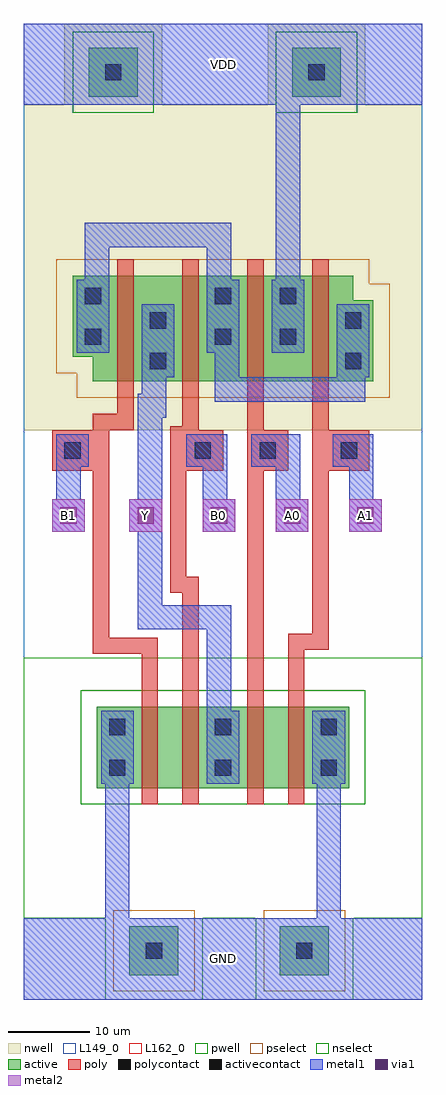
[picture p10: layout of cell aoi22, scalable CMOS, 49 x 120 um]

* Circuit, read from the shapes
.subckt aoi22 A0 A1 B0 B1 GND VDD Y
M1 n1 B1 GND GND nfet w=10u l=2u
M2 Y B0 n1 GND nfet w=10u l=2u
M3 n2 A0 Y GND nfet w=10u l=2u
M4 GND A1 n2 GND nfet w=10u l=2u
M5 Y B1 n3 VDD pfet w=13u l=2u
M6 n3 B0 Y VDD pfet w=13u l=2u
M7 VDD A0 n3 VDD pfet w=13u l=2u
M8 n3 A1 VDD VDD pfet w=13u l=2u
.ends

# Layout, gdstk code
import gdstk
lib = gdstk.Library(unit=1e-6, precision=1e-09)
def R(c, l, rs):  # rectangles x0, y0, x1, y1
    for r in rs: c.add(gdstk.rectangle(r[:2], r[2:], *l))
def A(c, l, x, y, w, h, nx, ny, dx, dy):  # array of equal rectangles
    R(c, l, [(x+i*dx, y+j*dy, x+i*dx+w, y+j*dy+h) for i in range(nx) for j in range(ny)])
def P(c, l, *ps):  # polygons
    for p in ps: c.add(gdstk.Polygon(p, *l))
pwell = (41, 0)
nwell = (42, 0)
active = (43, 0)
pselect = (44, 0)
nselect = (45, 0)
poly = (46, 0)
polycontact = (47, 0)
activecontact = (48, 0)
metal1 = (49, 0)
via1 = (50, 0)
metal2 = (51, 0)
L149_0 = (149, 0)
L162_0 = (162, 0)

nwell_contact = lib.new_cell('nwell_contact')
R(nwell_contact, nwell, [(-6,-5,6,6)])
R(nwell_contact, active, [(-3,-3,3,3)])
R(nwell_contact, nselect, [(-5,-5,5,5)])
R(nwell_contact, activecontact, [(-1,-1,1,1)])

pwell_contact = lib.new_cell('pwell_contact')
R(pwell_contact, pwell, [(-6,-6,6,5)])
R(pwell_contact, active, [(-3,-3,3,3)])
R(pwell_contact, pselect, [(-5,-5,5,5)])
R(pwell_contact, activecontact, [(-1,-1,1,1)])

via = lib.new_cell('via')
R(via, metal1, [(-2,-2,2,2)])
R(via, via1, [(-1,-1,1,1)])
R(via, metal2, [(-2,-2,2,2)])

aoi22 = lib.new_cell('aoi22')
R(aoi22, pwell, [(0,10,49,20), (0,10,49,42), (3,20,46,42)])
R(aoi22, nwell, [(0,70,49,110), (0,95,49,110)])
P(aoi22, nwell, [(49,70),(49,92),(46.5,92),(46.5,95),(0,95),(0,73),(2.5,73),(2.5,70)])
R(aoi22, active, [(9,26,40,36)])
P(aoi22, active, [(43,76),(43,86),(40.5,86),(40.5,89),(6,89),(6,79),(8.5,79),(8.5,76)])
P(aoi22, pselect, [(45,74),(45,88),(42.5,88),(42.5,91),(4,91),(4,77),(6.5,77),(6.5,74)])
R(aoi22, nselect, [(7,24,42,38)])
A(aoi22, poly, 11.5, 74, 2, 2, 4, 2, 8, 15)
A(aoi22, poly, 11.5, 76, 2, 13, 4, 1, 8, 0)
R(aoi22, poly, [(14.5,24,16.5,26), (19.5,24,21.5,26), (27.5,24,29.5,26), (32.5,24,34.5,26), (14.5,26,16.5,36), (19.5,26,21.5,36), (27.5,26,29.5,36), (32.5,26,34.5,36), (14.5,36,16.5,38), (19.5,36,21.5,38), (27.5,36,29.5,38), (32.5,36,34.5,38), (3.5,65,8.5,70), (19.5,65,24.5,70), (27.5,65,32.5,70), (37.5,65,42.5,70)])
R(aoi22, polycontact, [(5,66.5,7,68.5), (21,66.5,23,68.5), (29,66.5,31,68.5), (39,66.5,41,68.5)])
A(aoi22, activecontact, 10.5, 27.5, 2, 2, 3, 2, 13, 5)
R(aoi22, activecontact, [(15.5,77.5,17.5,79.5), (39.5,77.5,41.5,79.5), (7.5,80.5,9.5,82.5), (23.5,80.5,25.5,82.5), (31.5,80.5,33.5,82.5), (15.5,82.5,17.5,84.5), (39.5,82.5,41.5,84.5), (7.5,85.5,9.5,87.5), (23.5,85.5,25.5,87.5), (31.5,85.5,33.5,87.5)])
A(aoi22, metal1, 9.5, 26.5, 4, 9, 3, 1, 13, 0)
R(aoi22, metal1, [(0,0,49,10), (0,0,49,10), (4,65.5,8,69.5), (20,65.5,24,69.5), (28,65.5,32,69.5), (38,65.5,42,69.5), (14.5,76.5,18.5,85.5), (38.5,76.5,42.5,85.5), (6.5,79.5,10.5,88.5), (22.5,79.5,26.5,88.5), (30.5,79.5,34.5,88.5), (0,110,49,120), (0,110,49,120)])
A(aoi22, metal2, 13, 57.5, 4, 4, 4, 1, 9, 0)
R(aoi22, metal2, [(3.5,57.5,7.5,61.5)])
R(aoi22, L149_0, [(0,0,49,10), (0,0,49,120), (4,65.5,8,69.5), (20,65.5,24,69.5), (28,65.5,32,69.5), (38,65.5,42,69.5), (0,110,49,120)])
A(aoi22, L162_0, 13, 57.5, 4, 4, 4, 1, 9, 0)
R(aoi22, L162_0, [(3.5,57.5,7.5,61.5)])
aoi22.add(gdstk.FlexPath([(11.5,26.5),(11.5,10)], 3, ends="flush", simple_path=True, layer=149, datatype=0))  # L149_0
aoi22.add(gdstk.FlexPath([(37.5,26.5),(37.5,10)], 3, ends="flush", simple_path=True, layer=149, datatype=0))  # L149_0
aoi22.add(gdstk.FlexPath([(32.5,88.5),(32.5,110)], 3, ends="flush", simple_path=True, layer=149, datatype=0))  # L149_0
aoi22.add(gdstk.FlexPath([(5.5,61.5),(5.5,65.5)], 3, ends="flush", simple_path=True, layer=149, datatype=0))  # L149_0
aoi22.add(gdstk.FlexPath([(25,79.5),(25,75),(40.5,75),(40.5,76.5)], 3, ends="flush", simple_path=True, layer=149, datatype=0))  # L149_0
aoi22.add(gdstk.FlexPath([(32.5,61.5),(32.5,69.5)], 3, ends="flush", simple_path=True, layer=149, datatype=0))  # L149_0
aoi22.add(gdstk.FlexPath([(41.5,69.5),(41.5,61.5)], 3, ends="flush", simple_path=True, layer=149, datatype=0))  # L149_0
aoi22.add(gdstk.FlexPath([(23.5,61.5),(23.5,69.5)], 3, ends="flush", simple_path=True, layer=149, datatype=0))  # L149_0
aoi22.add(gdstk.FlexPath([(24,88.5),(24,94),(9,94),(9,88.5)], 3, ends="flush", simple_path=True, layer=149, datatype=0))  # L149_0
aoi22.add(gdstk.FlexPath([(16,76.5),(16,73),(15.5,73),(15.5,47),(24,47),(24,35.5)], 3, ends="flush", simple_path=True, layer=149, datatype=0))  # L149_0
aoi22.add(gdstk.FlexPath([(11.5,26.5),(11.5,10)], 3, ends="flush", simple_path=True, layer=49, datatype=0))  # metal1
aoi22.add(gdstk.FlexPath([(37.5,26.5),(37.5,10)], 3, ends="flush", simple_path=True, layer=49, datatype=0))  # metal1
aoi22.add(gdstk.FlexPath([(32.5,88.5),(32.5,110)], 3, ends="flush", simple_path=True, layer=49, datatype=0))  # metal1
aoi22.add(gdstk.FlexPath([(5.5,61.5),(5.5,65.5)], 3, ends="flush", simple_path=True, layer=49, datatype=0))  # metal1
aoi22.add(gdstk.FlexPath([(25,79.5),(25,75),(40.5,75),(40.5,76.5)], 3, ends="flush", simple_path=True, layer=49, datatype=0))  # metal1
aoi22.add(gdstk.FlexPath([(32.5,61.5),(32.5,69.5)], 3, ends="flush", simple_path=True, layer=49, datatype=0))  # metal1
aoi22.add(gdstk.FlexPath([(41.5,69.5),(41.5,61.5)], 3, ends="flush", simple_path=True, layer=49, datatype=0))  # metal1
aoi22.add(gdstk.FlexPath([(23.5,61.5),(23.5,69.5)], 3, ends="flush", simple_path=True, layer=49, datatype=0))  # metal1
aoi22.add(gdstk.FlexPath([(24,88.5),(24,94),(9,94),(9,88.5)], 3, ends="flush", simple_path=True, layer=49, datatype=0))  # metal1
aoi22.add(gdstk.FlexPath([(16,76.5),(16,73),(15.5,73),(15.5,47),(24,47),(24,35.5)], 3, ends="flush", simple_path=True, layer=49, datatype=0))  # metal1
aoi22.add(gdstk.FlexPath([(28.5,74),(28.5,38)], 2, ends="flush", simple_path=True, layer=46, datatype=0))  # poly
aoi22.add(gdstk.FlexPath([(36.5,74),(36.5,44),(33.5,44),(33.5,38)], 2, ends="flush", simple_path=True, layer=46, datatype=0))  # poly
aoi22.add(gdstk.FlexPath([(15.5,38),(15.5,43.5),(9.5,43.5),(9.5,71),(12.5,71),(12.5,74)], 2, ends="flush", simple_path=True, layer=46, datatype=0))  # poly
aoi22.add(gdstk.FlexPath([(20.5,74),(20.5,69.5),(19,69.5),(19,51),(20.5,51),(20.5,38)], 2, ends="flush", simple_path=True, layer=46, datatype=0))  # poly
aoi22.add(gdstk.Reference(nwell_contact, (11,114)))
aoi22.add(gdstk.Reference(nwell_contact, (36,114)))
aoi22.add(gdstk.Reference(pwell_contact, (16,6)))
aoi22.add(gdstk.Reference(pwell_contact, (34.5,6)))
aoi22.add(gdstk.Reference(via, (15,59.5)))
aoi22.add(gdstk.Reference(via, (24,59.5)))
aoi22.add(gdstk.Reference(via, (33,59.5)))
aoi22.add(gdstk.Reference(via, (5.5,59.5)))
aoi22.add(gdstk.Reference(via, (42,59.5)))
aoi22.add(gdstk.Label('A0', (33,59.5), layer=3, texttype=0))
aoi22.add(gdstk.Label('B0', (24,59.5), layer=3, texttype=0))
aoi22.add(gdstk.Label('B1', (5.5,59.5), layer=3, texttype=0))
aoi22.add(gdstk.Label('A1', (42,59.5), layer=3, texttype=0))
aoi22.add(gdstk.Label('Y', (15,59.5), layer=3, texttype=0))
aoi22.add(gdstk.Label('GND', (24.5,5), layer=2, texttype=0))
aoi22.add(gdstk.Label('VDD', (24.5,115), layer=2, texttype=0))

lib.write_gds('aoi22.gds')
